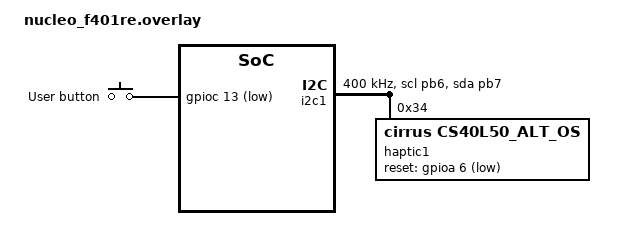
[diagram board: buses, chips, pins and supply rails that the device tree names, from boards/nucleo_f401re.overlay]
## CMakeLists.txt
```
# SPDX-License-Identifier: Apache-2.0
set(DRIVER_BASE "../../../..")
cmake_minimum_required(VERSION 3.20.0)

find_package(Zephyr REQUIRED HINTS $ENV{ZEPHYR_BASE})
project(stream_cs40l50)

FILE(GLOB app_sources src/*.c ${DRIVER_BASE}/cs40l50/*.c ${DRIVER_BASE}/common/fw_img.c)
target_sources(app PRIVATE ${app_sources})

zephyr_library_add_dependencies(offsets_h)

zephyr_compile_definitions(CIRRUS_ZEPHYR_SAMPLE)

add_subdirectory(src)
```

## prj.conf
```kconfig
CONFIG_LOG=y
CONFIG_GPIO=y
CONFIG_HAPTICS=y
CONFIG_HAPTICS_CS40L50=y
CONFIG_HEAP_MEM_POOL_SIZE=8192
CONFIG_SHELL=y
CONFIG_I2C_SHELL=y
```

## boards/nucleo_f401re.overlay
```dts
/*
 * Copyright (c) 2024 Cirrus Logic, Inc.
 *
 * SPDX-License-Identifier: Apache-2.0
 */

#include <zephyr/dt-bindings/i2c/i2c.h>

/ {
        aliases {
                sw0 = &button0;
        };

        buttons {
                compatible = "gpio-keys";

                button0: button_0 {
                        label = "User button";
                        gpios = <&gpioc 13 GPIO_ACTIVE_LOW>;
                        zephyr,code = <INPUT_KEY_0>;
                };
        };
};

&i2c1 {
        status = "okay";
        clock-frequency = <I2C_BITRATE_FAST>;
	pinctrl-0 = <&i2c1_scl_pb6 &i2c1_sda_pb7>;
        
        haptic1: cs40l50@34 {
                compatible = "cirrus,cs40l50_alt_os";
                reg = <0x34>;
                reset-gpios = <&gpioa 6 (GPIO_ACTIVE_LOW | GPIO_PULL_UP)>;
                status = "okay";
        };
};

&usart1 {
	status = "disabled";
};
```

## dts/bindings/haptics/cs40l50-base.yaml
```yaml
# Copyright (c) 2025 Cirrus Logic, Inc.
# SPDX-License-Identifier: Apache-2.0

description: CS40L50 Haptic Driver

compatible: "cirrus,cs40l50"

include: ["i2c-device.yaml"]

properties:
  reset-gpios:
    type: phandle-array
    required: true
    description: Host GPIO pin mapped to CS40L50 reset pin.
```

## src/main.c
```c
/*
 * Copyright (c) Cirrus Logic 2026 All Rights Reserved, http://www.cirrus.com/
 *
 * Licensed under the Apache License, Version 2.0 (the License); you may
 * not use this file except in compliance with the License.
 * You may obtain a copy of the License at
 *
 * www.apache.org/licenses/LICENSE-2.0
 *
 * Unless required by applicable law or agreed to in writing, software
 * distributed under the License is distributed on an AS IS BASIS, WITHOUT
 * WARRANTIES OR CONDITIONS OF ANY KIND, either express or implied.
 * See the License for the specific language governing permissions and
 * limitations under the License.
 *
 */
#include <errno.h>

#include <zephyr/device.h>
#include <zephyr/devicetree.h>
#include <zephyr/kernel.h>
#include <zephyr/logging/log.h>
#include <zephyr/drivers/haptics.h>
#include <zephyr/drivers/i2c.h>
// #include "drivers/haptics/cs40l50.h"
#include <zephyr/drivers/uart.h>
#include <zephyr/sys/util.h>
#include <zephyr/shell/shell.h>
#include <sys/_stdint.h>
#include <stdlib.h>
#include <stdio.h>
#include <strings.h>
#include <ctype.h>

#define LOG_LEVEL 4

#include "cs40l50_bsp.h"

LOG_MODULE_REGISTER(main);

const struct device *cs40l50 = DEVICE_DT_GET(DT_NODELABEL(haptic1));

#if CONFIG_SHELL
#define CS40L50_HELP    SHELL_HELP("CS40L50 haptics commands", NULL)
#define CS40L50_LIST_WT SHELL_HELP("List Effects in Main Wavetable", NULL)
#define CS40L50_EFFECT_MSFT_ID_TRIGGER                                                             \
    SHELL_HELP("Play Effect indicated by Microsoft ID with Given Intensity, Repeat Count, "    \
           "Retrigger Period (ms), and max waveform playback time (ms)",                   \
           "<msft_ID> <intensity> <repeats> <retrigger_period> <cutoff_time>")
#define CS40L50_EFFECT_NAME_TRIGGER                                                                \
    SHELL_HELP("Play Effect indicated by effect name with Given Intensity, Repeat Count, and " \
           "Retrigger Period (ms), and max waveform playback time (ms)",                   \
           "<effect_name> <intensity> <repeats> <retrigger_period> <cutoff_time>")

// Helper function to convert and validate shell input is int values in valid range
static int convert_int_input(const struct shell *sh, char *input, uint32_t *output, uint32_t min,
                 uint32_t max)
{
    char *endptr;
    if (!input) {
        return -1;
    }
    if ((input[0] == '0' && input[1] == 'x') || (input[0] == '0' && input[1] == 'X')) {
        for (int i = 2; input[i] != '\0'; i++) {
            if (!isxdigit(input[i])) {
                shell_error(sh, "Error: Invalid input parameter %s\n", input);
                return -1;
            }
        }

        *output = (uint32_t)strtol(input, &endptr, 16);
        if (*output < min || *output > max) {
            printf("Error: Invalid input %s, input must be number between %d and %d\n",
                   input, min, max);
            return -1;
        }
        return 0;
    } else {
        for (int i = 0; input[i] != '\0'; i++) {
            if (!isdigit(input[i])) {
                shell_error(sh, "Error: Invalid input parameter %s\n", input);
                return -1;
            }
        }

        *output = (uint32_t)strtol(input, &endptr, 0);
        if (*output < min || *output > max) {
            printf("Error: Invalid input %s, input must be number between %d and %d\n",
                   input, min, max);
            return -1;
        }
        return 0;
    }
}

static int cmd_list_wt(const struct shell *sh, size_t argc, char **argv)
{
    uint32_t ret;
    ret = bsp_cs40l50_list_host_initiated_effects(cs40l50);
    return ret;
}

static int cmd_effect_name_trigger(const struct shell *sh, size_t argc, char **argv)
{
    uint32_t ret;

    HIH_effect effect_data;
    effect_data.label = EFFECT_NAME;
    strcpy(effect_data.HIH_effect_identifier.effectName, argv[1]);

    uint32_t amplitude;
    ret = convert_int_input(sh, argv[2], &amplitude, 1, 200);
    if (ret) {
        return -1;
    }
    uint32_t nested_repeats;
    ret = convert_int_input(sh, argv[3], &nested_repeats, 0, 255);
    if (ret) {
        return -1;
    }
    uint32_t delay;
    ret = convert_int_input(sh, argv[4], &delay, 0, 10000);
    if (ret) {
        return -1;
    }
    uint32_t cutoff_time;
    ret = convert_int_input(sh, argv[5], &cutoff_time, 0, 0xFFFFFF);
    if (ret) {
        return -1;
    }

    ret = bsp_cs40l50_host_initiated_trigger(cs40l50, effect_data, amplitude, nested_repeats,
                         delay, cutoff_time);
    return ret;
}

static int cmd_effect_msft_id_trigger(const struct shell *sh, size_t argc, char **argv)
{
    uint32_t ret;

    uint32_t msft_id;
    ret = convert_int_input(sh, argv[1], &msft_id, 0, 0x10000);
    if (ret) {
        return -1;
    }

    HIH_effect effect_data;
    effect_data.label = EFFECT_MSFT_ID;
    effect_data.HIH_effect_identifier.msft_ID = msft_id;

    uint32_t amplitude;
    ret = convert_int_input(sh, argv[2], &amplitude, 1, 200);
    if (ret) {
        return -1;
    }
    uint32_t nested_repeats;
    ret = convert_int_input(sh, argv[3], &nested_repeats, 0, 255);
    if (ret) {
        return -1;
    }
    uint32_t delay;
    ret = convert_int_input(sh, argv[4], &delay, 0, 10000);
    if (ret) {
        return -1;
    }
    uint32_t cutoff_time;
    ret = convert_int_input(sh, argv[5], &cutoff_time, 0, 0xFFFFFF);
    if (ret) {
        return -1;
    }

    ret = bsp_cs40l50_host_initiated_trigger(cs40l50, effect_data, amplitude, nested_repeats,
                         delay, cutoff_time);
    return ret;
}

SHELL_STATIC_SUBCMD_SET_CREATE(cs40l50_cmds,
                   SHELL_CMD_ARG(list_wt, NULL, CS40L50_LIST_WT, cmd_list_wt, 1, 0),
                   SHELL_CMD_ARG(effect_msft_id_trigger, NULL,
                         CS40L50_EFFECT_MSFT_ID_TRIGGER,
                         cmd_effect_msft_id_trigger, 6, 0),
                   SHELL_CMD_ARG(effect_name_trigger, NULL, CS40L50_EFFECT_NAME_TRIGGER,
                         cmd_effect_name_trigger, 6, 0),
                   SHELL_SUBCMD_SET_END);

SHELL_CMD_REGISTER(cs40l50, &cs40l50_cmds, "CS40L50 shell commands", NULL);
#endif /* CONFIG_SHELL */

/*
 * Get button configuration from the devicetree sw0 alias. This is mandatory.
 */
#define SW0_NODE DT_ALIAS(sw0)
#if !DT_NODE_HAS_STATUS_OKAY(SW0_NODE)
#error "Unsupported board: sw0 devicetree alias is not defined"
#endif
static const struct gpio_dt_spec button = GPIO_DT_SPEC_GET_OR(SW0_NODE, gpios, {0});

int main(void)
{
    int ret;

    if (!gpio_is_ready_dt(&button)) {
        printk("Error: button device %s is not ready\n", button.port->name);
        return 0;
    }

    ret = gpio_pin_configure_dt(&button, GPIO_INPUT);
    if (ret != 0) {
        printk("Error %d: failed to configure %s pin %d\n", ret, button.port->name,
               button.pin);
        return 0;
    }

    struct cs40l50_haptic_source_config hap_cfg = {
        .index = CS40L50_HAPTIC_ROM_ZIPPER,
        .bank = ROM_BANK,
    };
    cs40l50_set_haptic_cfg(cs40l50, &hap_cfg);

    if (!cs40l50) {
        LOG_ERR("CS40L50 device not found");
        return -ENODEV;
    } else if (!device_is_ready(cs40l50)) {
        LOG_ERR("CS40L50 device %s is not ready", cs40l50->name);
        return -EIO;
    } else {
        LOG_INF("Found CS40L50 device %s", cs40l50->name);
    }

    while (1) {
        if (gpio_pin_get_dt(&button)) {
            ret = haptics_start_output(cs40l50);
            while (gpio_pin_get_dt(&button))
                ;
        }
        k_msleep(10);
    }
    return 0;
}
```

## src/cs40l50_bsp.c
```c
/*
 * Copyright (c) Cirrus Logic 2026 All Rights Reserved, http://www.cirrus.com/
 *
 * Licensed under the Apache License, Version 2.0 (the License); you may
 * not use this file except in compliance with the License.
 * You may obtain a copy of the License at
 *
 * www.apache.org/licenses/LICENSE-2.0
 *
 * Unless required by applicable law or agreed to in writing, software
 * distributed under the License is distributed on an AS IS BASIS, WITHOUT
 * WARRANTIES OR CONDITIONS OF ANY KIND, either express or implied.
 * See the License for the specific language governing permissions and
 * limitations under the License.
 *
 */

#include "cs40l50_bsp.h"
#include "cs40l50.h"
#include <zephyr/kernel.h>
#include <zephyr/logging/log.h>
#include <zephyr/drivers/i2c.h>
#include <strings.h>

LOG_MODULE_REGISTER(cirrus_cs40l50);

struct cs40l50_config {
    struct i2c_dt_spec i2c;
    struct gpio_dt_spec reset_gpio;
    void (*irq_cfg_func)(void);
    void (*irq_enable_func)(void);
    void (*irq_disable_func)(void);
};

// TODO: Remove Sweep, old name
const char *HIH_effect_names[] = {"Hover", "Collide", "Align",   "Step",    "Grow",
                  "Sweep", "Press",   "Release", "Success", "Error"};

int cs40l50_i2c_write_reg_dt(const struct i2c_dt_spec *spec, const uint32_t reg_addr,
                 const uint32_t value)
{
    uint8_t addr_buf[4], data_buf[4], msg_buf[8];
    int i, j = 4;

    sys_put_be32(reg_addr, addr_buf);
    sys_put_be32(value, data_buf);

    for (i = 0; i < ARRAY_SIZE(addr_buf); i++) {
        msg_buf[i] = addr_buf[i];
        msg_buf[j] = data_buf[i];
        j++;
    }

    return i2c_write_dt(spec, msg_buf, sizeof(msg_buf));
}

int cs40l50_i2c_read_reg_dt(const struct i2c_dt_spec *spec, const uint32_t reg_addr,
                uint32_t *value)
{
    uint8_t write_buf[4], read_buf[4];
    int ret;

    sys_put_be32(reg_addr, write_buf);

    ret = i2c_write_read_dt(spec, write_buf, sizeof(write_buf), read_buf, sizeof(read_buf));
    if (ret < 0) {
        LOG_INF("cs40l50_i2c_read_reg_dt error\n");
        return ret;
    }

    *value = sys_get_be32(read_buf);

    return 0;
}

int cs40l50_update_reg_dt(const struct i2c_dt_spec *spec, const uint32_t reg_addr,
              const uint32_t mask, const uint32_t value)
{
    uint32_t old_value, new_value;
    int ret;

    ret = cs40l50_i2c_read_reg_dt(spec, reg_addr, &old_value);
    if (ret < 0) {
        return ret;
    }

    new_value = (old_value & ~mask) | (value & mask);
    if (new_value == old_value) {
        return 0;
    }

    return cs40l50_i2c_write_reg_dt(spec, reg_addr, new_value);
}

/* write addr/word pairs */
int cs40l50_write_array_dt(const struct i2c_dt_spec *spec, const uint32_t *array, uint32_t words)
{
    int i, ret;

    for (i = 0; i < words; i += 2) {
        ret = cs40l50_i2c_write_reg_dt(spec, array[i], array[i + 1]);
        if (ret < 0) {
            return ret;
        }
    }
    return 0;
}

/**
 * Reads a register for a specific value for a specified amount of tries while waiting between
 * reads.
 *
 */
int cs40l50_poll_reg_dt(const struct i2c_dt_spec *spec, const uint32_t reg_addr, uint32_t value,
            uint32_t tries, uint32_t delay)
{
    uint32_t tmp;
    int i, ret;

    for (i = 0; i < tries; i++) {
        ret = cs40l50_i2c_read_reg_dt(spec, reg_addr, &tmp);
        if (ret < 0) {
            return ret;
        }

        if (tmp == value) {
            return 0;
        }

        k_msleep(delay);
    }
    return 0;
}

int cs40l50_write_acked_reg_dt(const struct i2c_dt_spec *spec, const uint32_t reg_addr,
                   uint32_t val, uint32_t acked_val, uint8_t tries, uint32_t delay)
{
    int i, ret;

    ret = cs40l50_i2c_write_reg_dt(spec, reg_addr, val);
    if (ret < 0) {
        return ret;
    }

    for (i = 0; i < tries; i++) {
        uint32_t temp_reg_val;

        k_msleep(delay);

        cs40l50_i2c_read_reg_dt(spec, reg_addr, &temp_reg_val);

        if (temp_reg_val == acked_val) {
            return 0;
        }
    }

    return -1;
}

int cs40l50_i2c_write_bulk_bus(const struct i2c_dt_spec *spec, const uint32_t reg_addr,
                   const uint8_t *buf, unsigned int num_bytes, uint16_t bus_addr)
{
    uint8_t addr_buf[4], *msg_buf;
    int i = 4, ret = 0;

    LOG_INF("cs40l50_i2c_write_bulk_bus: reg=%x size=%d\n", reg_addr, num_bytes);

    msg_buf = k_malloc(num_bytes + 4);
    if (!msg_buf) {
        return -ENOMEM;
    }

    sys_put_be32(reg_addr, addr_buf);

    for (i = 0; i < ARRAY_SIZE(addr_buf); i++) {
        msg_buf[i] = addr_buf[i];
    }

    bytecpy(msg_buf + 4, buf, num_bytes);

    ret = i2c_write(spec->bus, msg_buf, 4 + num_bytes, bus_addr);

    k_free(msg_buf);
    return ret;
}

int cs40l50_i2c_write_bus(const struct i2c_dt_spec *spec, const uint32_t reg_addr, uint32_t val,
              uint16_t bus_addr)
{
    uint8_t addr_buf[4], data_buf[4], *msg_buf;
    int ret = 0;

    LOG_INF("cs40l50_i2c_write_bus: reg=%x\n", reg_addr);

    msg_buf = k_malloc(8);
    if (!msg_buf) {
        return -ENOMEM;
    }

    sys_put_be32(reg_addr, addr_buf);
    sys_put_be32(val, data_buf);

    bytecpy(msg_buf, addr_buf, 4);
    bytecpy(msg_buf + 4, data_buf, 4);

    ret = i2c_write(spec->bus, msg_buf, 8, bus_addr);

    k_free(msg_buf);
    return ret;
}

int cs40l50_i2c_write_bulk_dt(const struct i2c_dt_spec *spec, const uint32_t reg_addr,
                  const uint8_t *buf, unsigned int num_bytes)
{
    uint8_t addr_buf[4], *msg_buf;
    int i = 4, ret = 0;

    LOG_INF("cs40l50_i2c_write_bulk_dt: reg=%x size=%d\n", reg_addr, num_bytes);

    msg_buf = k_malloc(num_bytes + 4);
    if (!msg_buf) {
        return -ENOMEM;
    }

    sys_put_be32(reg_addr, addr_buf);

    for (i = 0; i < ARRAY_SIZE(addr_buf); i++) {
        msg_buf[i] = addr_buf[i];
    }

    bytecpy(msg_buf + 4, buf, num_bytes);

    ret = i2c_write_dt(spec, msg_buf, sizeof(msg_buf) + num_bytes);

    k_free(msg_buf);
    return ret;
}

int cs40l50_set_haptic_cfg(const struct device *dev, struct cs40l50_haptic_source_config *hap_cfg)
{
    struct cs40l50_bsp *data = dev->data;
    data->hap_cfg = *hap_cfg;
    return 0;
}

static int cs40l50_write_fw_blocks(struct i2c_dt_spec *i2c, halo_boot_block_t *blocks,
                   int num_blocks)
{
    int i, ret;
    halo_boot_block_t block;
    uint32_t bytes, address;
    uint8_t *buffer;

    for (i = 0; i < num_blocks; i++) {
        block = blocks[i];
        bytes = block.block_size;
        address = block.address;
        buffer = (uint8_t *)block.bytes;
        ret = cs40l50_i2c_write_bulk_dt(i2c, address, buffer, bytes);
        if (ret != 0) {
            return ret;
        }
        k_msleep(5);
    }

    return 0;
}

static int cs40l50_gpi_get_level(cs40l50_t *drv, unsigned int gpio)
{
    uint32_t gpio_status;
    struct i2c_dt_spec *i2c = drv->config.bsp_config.i2c;

    if (gpio > 13) {
        return -1;
    }

    regmap_read(i2c, CS40L50_GPIO_STATUS1, &gpio_status);

    return ((gpio_status & (1 << (gpio - 1))) != 0);
}

enum cs40l50_tuning_set {
    CS40L50_TUNING_SET_A,
    CS40L50_TUNING_SET_B,
};

static unsigned int get_tuning_set(cs40l50_t *drv)
{
    // struct i2c_dt_spec *i2c = drv->config.bsp_config.i2c;
    int gpi_level;

    gpi_level = cs40l50_gpi_get_level(drv, 1);
    return gpi_level;
}

/* NOTE: Example tunings and wavetable are not designed for general-purpose applications and should
 * be used for verification purposes only. Please contact your Cirrus Logic representative for
 * application specific waveforms and tunings
 */
static int cs40l50_firmware_load(cs40l50_t *drv)
{
    int num_blocks, ret;
    halo_boot_block_t *blocks;
    struct i2c_dt_spec *i2c = drv->config.bsp_config.i2c;
    uint32_t tuning_set;

    tuning_set = get_tuning_set(drv);

    num_blocks = cs40l50_total_fw_blocks;
    blocks = (halo_boot_block_t *)cs40l50_fw_blocks;
    ret = cs40l50_write_fw_blocks(i2c, blocks, num_blocks);
    if (ret != 0) {
        return ret;
    }

    num_blocks = cs40l50_total_coeff_blocks_0;
    blocks = (halo_boot_block_t *)cs40l50_coeff_0_blocks;
    ret = cs40l50_write_fw_blocks(i2c, blocks, num_blocks);
    if (ret != 0) {
        return ret;
    }

    num_blocks = cs40l50_total_coeff_blocks_1;
    blocks = (halo_boot_block_t *)cs40l50_coeff_1_blocks;
    ret = cs40l50_write_fw_blocks(i2c, blocks, num_blocks);
    if (ret != 0) {
        return ret;
    }

    LOG_INF("Loaded wavetable");
    return 0;
}

static int cs40l50_clear_gpio_triggers(cs40l50_t *drv)
{
    int i;
    struct i2c_dt_spec *i2c = drv->config.bsp_config.i2c;

    for (i = 0; i < 16; i++) {
        regmap_write(i2c, CS40L50_GPIO_HANDLERS_BASE + i * 4, 0x1FF);
    }

    return 0;
}

static int cs40l50_setup_gpi(cs40l50_t *drv, unsigned int gpio)
{
    struct i2c_dt_spec *i2c = drv->config.bsp_config.i2c;

    if (gpio > 13) {
        return -1;
    }

    regmap_write(i2c, CS40L50_GPIO_CTRL1 + (4 * (gpio - 1)),
             CS40L50_GPIO_CTRL_DIR_BITMASK | CS40L50_GPIO_CTRL_FN_INPUT_OUTPUT);
    return 0;
}

static uint32_t cs40l50_set_timer(uint32_t duration_ms, bsp_callback_t cb, void *cb_arg)
{
    k_msleep(duration_ms);
    return 0;
}

static uint32_t cs40l50_register_gpio_cb(const struct gpio_dt_spec *gpio_id, bsp_callback_t cb,
                     void *cb_arg)
{
    // TODO
    return 0;
}

static uint32_t cs40l50_set_gpio(const struct gpio_dt_spec *gpio_id, uint8_t gpio_state)
{
    // TODO
    return 0;
}

bsp_driver_if_t cs40l50_bsp_driver_if = {.set_timer = cs40l50_set_timer,
                     .register_gpio_cb = cs40l50_register_gpio_cb,
                     .set_gpio = cs40l50_set_gpio};

bsp_driver_if_t *bsp_driver_if_g = &cs40l50_bsp_driver_if;

/* ===================================================================================== */
static int cs40l50_reset_owt(cs40l50_t *drv)
{
    uint32_t ret;
    struct i2c_dt_spec *i2c = drv->config.bsp_config.i2c;
    ret = regmap_write(i2c, CS40L50_DSP_VIRTUAL1_MBOX_1, CS40L50_DSP_MBOX_OWT_RESET);
    if (ret) {
        return ret;
    }
    return BSP_STATUS_OK;
}

static int cs40l50_init(const struct device *dev)
{
    struct cs40l50_config *config = (struct cs40l50_config *)dev->config;
    struct cs40l50_bsp *data = dev->data;
    cs40l50_t *drv = &data->priv;
    uint32_t val;
    int ret;
    LOG_INF("cs40l50_init\n");

    drv->config.bsp_config.i2c = &config->i2c;
    drv->config.syscfg_regs = cs40l50_syscfg_regs;
    drv->config.syscfg_regs_total = CS40L50_SYSCFG_REGS_TOTAL;
    drv->config.is_ext_bst = true;

    static const struct gpio_dt_spec reset =
        GPIO_DT_SPEC_GET(DT_NODELABEL(haptic1), reset_gpios);

    if (!gpio_is_ready_dt(&reset)) {
        LOG_INF("cs40l50 reset pin GPIO port is not ready.\n");
        return 0;
    }

    ret = gpio_pin_configure_dt(&reset, GPIO_OUTPUT_INACTIVE);
    if (ret != 0) {
        LOG_INF("cs40l50 configuring reset pin failed: %d\n", ret);
        return 0;
    }

    drv->config.bsp_config.reset_gpio_id = &reset;
    // Activate RESET for at least T_RLPW (1ms)
    gpio_pin_set_dt(&reset, BSP_GPIO_ACTIVE);
    k_msleep(2);
    // Wait for Lochnagar to boot
    gpio_pin_set_dt(&reset, BSP_GPIO_INACTIVE);
    k_msleep(2500);

    if (!i2c_is_ready_dt(&config->i2c)) {
        LOG_INF("cs40l50 no I2C\n");
        return -ENODEV;
    }

    ret = cs40l50_reset(drv);
    if (ret < 0) {
        return ret;
    }

    regmap_read(&config->i2c, FIRMWARE_CS40L5X_HALO_STATE, &val);
    LOG_INF("cs40l50_init: HALO_STATE = %x\n", val);

    LOG_INF("cs40l50_calibrate\n");
    ret = cs40l50_calibrate(drv);
    if (ret < 0) {
        LOG_INF("cs40l50_calibrate error\n");
        return ret;
    }

    ret = cs40l50_boot(drv, NULL);
    if (ret < 0) {
        LOG_INF("cs40l50_boot error\n");
        return ret;
    }

    cs40l50_setup_gpi(drv, 1);

    LOG_INF("cs40l50_firmware_load\n");
    ret = cs40l50_firmware_load(drv);
    if (ret < 0) {
        LOG_INF("cs40l50_firmware_load error\n");
        return ret;
    }

    ret = regmap_write(&config->i2c, CS40L50_DSP1_CCM_CORE_CONTROL, 0x00000281);
    if (ret < 0) {
        LOG_INF("cs40l50_boot error\n");
        return ret;
    }

    cs40l50_clear_gpio_triggers(drv);
    cs40l50_reset_owt(drv);

    k_msleep(1000);

    /* to-do */
    regmap_read(&config->i2c, FIRMWARE_CS40L5X_HALO_STATE, &val);
    LOG_INF("cs40l50_init: HALO_STATE = %x\n", val);

    //    config->irq_cfg_func();
    //    config->irq_enable_func();

    return 0;
}

static int haptics_cs40l50_stop_output(const struct device *dev)
{
    return 0;
}

static int haptics_cs40l50_start_output(const struct device *dev)
{
    struct cs40l50_bsp *data = (struct cs40l50_bsp *)dev->data;
    LOG_INF("haptics_cs40l50_start_output, bank=%x, index=%x\n", data->hap_cfg.bank,
        data->hap_cfg.index);

    cs40l50_trigger(&data->priv, data->hap_cfg.index, data->hap_cfg.bank);

    return 0;
}

int bsp_cs40l50_trigger_owt(const struct device *dev, int owt_idx)
{
    struct cs40l50_bsp *data = dev->data;
    cs40l50_t *drv = &data->priv;
    uint32_t ret;

    ret = cs40l50_trigger_owt(drv, owt_idx);
    if (ret) {
        LOG_ERR("Error playing out owt waveform");
        return ret;
    }
    return BSP_STATUS_OK;
}

int bsp_cs40l50_delete_owt(const struct device *dev, int owt_idx)
{
    struct cs40l50_bsp *data = dev->data;
    cs40l50_t *drv = &data->priv;
    struct cs40l50_config *config = (struct cs40l50_config *)dev->config;
    uint32_t ret, state;

    ret = regmap_read(&config->i2c, PM_PM_CUR_STATE, &state);
    if (ret) {
        return ret;
    }

    if (state == CS40L50_DSP_STATE_ACTIVE) {
        ret = regmap_write(&config->i2c, CS40L50_DSP_VIRTUAL1_MBOX_1,
                   CS40L50_DSP_MBOX_STOP_PLAYBACK);
        if (ret) {
            return ret;
        }
        ret = regmap_poll_reg(&config->i2c, PM_PM_CUR_STATE, CS40L50_DSP_STATE_STANDBY, 10,
                      10);
        if (ret) {
            return ret; // If unable to stop playback don't send delete command
        }
    }

    ret = cs40l50_delete_owt(drv, owt_idx);
    if (ret) {
        LOG_ERR("Error deleting owt waveform");
        return ret;
    }
    return BSP_STATUS_OK;
}

int bsp_cs40l50_write_owt_header(const struct device *dev, uint8_t num_waveforms, uint8_t repeats)
{
    struct cs40l50_bsp *data = dev->data;
    cs40l50_t *drv = &data->priv;
    uint32_t ret;

    ret = cs40l50_write_owt_composite_header(drv, num_waveforms, repeats);
    if (ret) {
        LOG_ERR("Error writing owt header");
        return ret;
    }
    return BSP_STATUS_OK;
}

int bsp_cs40l50_write_owt_section(const struct device *dev,
                  struct cs40l50_owt_section_params section)
{
    struct cs40l50_bsp *data = dev->data;
    cs40l50_t *drv = &data->priv;
    uint32_t ret;

    ret = cs40l50_write_owt_composite_section(drv, section.nested_repeats, section.waveform_idx,
                          section.amplitude, section.delay,
                          section.owt_subwave, section.rom_subwave,
                          section.duration_present, section.duration);
    if (ret) {
        LOG_ERR("Error writing owt section");
        return ret;
    }
    return BSP_STATUS_OK;
}

int bsp_cs40l50_push_owt(const struct device *dev)
{
    struct cs40l50_bsp *data = dev->data;
    cs40l50_t *drv = &data->priv;
    uint32_t ret;

    ret = cs40l50_push_owt_composite(drv);
    if (ret) {
        LOG_ERR("Error pushing owt waveform");
        return ret;
    }
    return BSP_STATUS_OK;
}

int bsp_cs40l50_write_owt_composite_one_section(const struct device *dev,
                        struct cs40l50_owt_section_params section)
{
    uint32_t ret;
    struct cs40l50_bsp *data = dev->data;
    cs40l50_t *drv = &data->priv;

    ret = cs40l50_write_owt_composite_one_section(
        drv, section.nested_repeats, section.waveform_idx, section.amplitude, section.delay,
        section.owt_subwave, section.rom_subwave);
    if (ret) {
        LOG_ERR("Error writing owt waveform");
        return ret;
    }
    return ret;
}

int bsp_cs40l50_get_SVC_tone_length(const struct device *dev, uint32_t *length)
{
    struct cs40l50_config *config = (struct cs40l50_config *)dev->config;
    uint32_t val, ret;
    uint32_t length_samples = 0;
    ret = regmap_read(&config->i2c, SVC_INIT_PH_PILOT_HI_START_SMP, &val);
    if (ret) {
        return ret;
    }
    length_samples += val;

    ret = regmap_read(&config->i2c, SVC_INIT_PH_OFST_CAL_START_SMP, &val);
    if (ret) {
        return ret;
    }
    length_samples += val;

    ret = regmap_read(&config->i2c, SVC_INIT_PH_OFST_CAL_NSMP, &val);
    if (ret) {
        return ret;
    }
    length_samples += val;

    ret = regmap_read(&config->i2c, SVC_INIT_PH_OFST_STL_NSMP, &val);
    if (ret) {
        return ret;
    }
    length_samples += val;

    // Ouput tone length in us
    *length = (length_samples * 1000) / (CS40L50_SVC_FS / 1000);
    return BSP_STATUS_OK;
}

static uint32_t bsp_cs40l50_convert_effect_name(char *effect_name, uint32_t *idx)
{
    for (int i = 0; i < pwleCount; i++) {
        if (strcasecmp(effect_name, pwleList[i]->name) == 0) {
            *idx = i;
            return BSP_STATUS_OK;
        }
    }
    return BSP_STATUS_FAIL;
}

static uint32_t bsp_cs40l50_convert_msft_id(uint32_t msft_id, uint32_t *idx)
{
    for (int i = 0; i < pwleCount; i++) {
        if (msft_id == pwleList[i]->msft_id) {
            *idx = i;
            return BSP_STATUS_OK;
        }
    }
    return BSP_STATUS_FAIL;
}

int bsp_cs40l50_host_initiated_trigger(const struct device *dev, HIH_effect effect,
                       uint32_t intensity, uint32_t repeats,
                       uint32_t retrigger_period, uint32_t cutoff_time)
{
    uint32_t ret, idx;
    struct cs40l50_config *config = (struct cs40l50_config *)dev->config;

    ret = bsp_cs40l50_get_num_owt_wf(dev, &idx);
    if (ret) {
        return ret;
    }
    if (idx > 0) {
        ret = bsp_cs40l50_delete_owt(dev, idx - 1);
        if (ret) {
            return ret;
        }
    }

    // Get effect OWT index from string name or microsoft ID
    if (effect.label == EFFECT_NAME) {
        ret = bsp_cs40l50_convert_effect_name(effect.HIH_effect_identifier.effectName,
                              &idx);
        if (ret) {
            LOG_ERR("Error: Effect named %s not found",
                effect.HIH_effect_identifier.effectName);
            return ret;
        }
    } else if (effect.label == EFFECT_MSFT_ID) {
        ret = bsp_cs40l50_convert_msft_id(effect.HIH_effect_identifier.msft_ID, &idx);
        if (ret) {
            LOG_ERR("Error: Effect ID 0x%x not found",
                effect.HIH_effect_identifier.msft_ID);
            return ret;
        }
    } else {
        idx = effect.HIH_effect_identifier.owtIdx;
    }

    struct cs40l50_owt_section_params section = {.nested_repeats = repeats,
                             .waveform_idx = idx,
                             .amplitude = intensity,
                             .delay = retrigger_period,
                             .owt_subwave = 0,
                             .rom_subwave = 0,
                             .duration_present = 0,
                             .duration = 0};

    ret = bsp_cs40l50_write_owt_composite_one_section(dev, section);
    if (ret) {
        return ret;
    }

    ret = regmap_write(&config->i2c, VIBEGEN_TIMEOUT_MS, cutoff_time);
    if (ret) {
        return ret;
    }

    ret = bsp_cs40l50_get_num_owt_wf(dev, &idx);
    if (ret) {
        return ret;
    }

    ret = bsp_cs40l50_trigger_owt(dev, idx - 1);
    if (ret) {
        return ret;
    }

    return BSP_STATUS_OK;
}

static bool check_pwle_is_HIH_effect(const char *effect_name)
{
    for (int i = 0; i < sizeof(HIH_effect_names) / sizeof(HIH_effect_names[0]); i++) {
        if (strcasecmp(effect_name, HIH_effect_names[i]) == 0) {
            return true;
        }
    }
    return false;
}

int bsp_cs40l50_list_host_initiated_effects(const struct device *dev)
{
    uint32_t ret;
    printf("\n---Wavetable Waveform List---\n");
    for (int i = 0; i < pwleCount; i++) {
        if (check_pwle_is_HIH_effect(pwleList[i]->name)) {
            uint32_t length_svc_us = 0;
            ret = bsp_cs40l50_get_SVC_tone_length(dev, &length_svc_us);
            if (ret) {
                return ret;
            }
            uint32_t length_svc_ms = length_svc_us / 1000;
            uint32_t length_svc_ms_dec = (length_svc_us % 1000) / 10;
            uint32_t length_ms = pwleList[i]->length_us / 1000 + length_svc_ms;
            uint32_t length_ms_dec =
                (pwleList[i]->length_us % 1000) / 10 + length_svc_ms_dec;
            length_ms += length_ms_dec / 100;
            length_ms_dec %= 100;
            if (length_ms_dec > 50) // Round to nearest ms
            {
                length_ms += 1;
            }
            printf("Name : \"%s\", Duration : %d ms\n", pwleList[i]->name, length_ms);
        }
    }
    return BSP_STATUS_OK;
}

static const struct haptics_driver_api cs40l50_driver_api = {
    .start_output = &haptics_cs40l50_start_output,
    .stop_output = &haptics_cs40l50_stop_output,
};

// static void cs40l50_isr(void *arg)
// {
// }

int bsp_cs40l50_get_num_owt_wf(const struct device *dev, uint32_t *num)
{
    struct cs40l50_config *config = (struct cs40l50_config *)dev->config;
    return regmap_read(&config->i2c, VIBEGEN_OWT_NUM_OF_WAVES_XM, num);
}

#define CS40L50_INIT(inst)                                                                         \
                                                                                                   \
    static const struct cs40l50_config cs40l50_config_##inst = {                               \
        .i2c = I2C_DT_SPEC_INST_GET(inst),                                                 \
    };                                                                                         \
                                                                                                   \
    static struct cs40l50_bsp cs40l50_bsp_data_##inst = {                                      \
                                                                                                   \
    };                                                                                         \
                                                                                                   \
    PM_DEVICE_DT_INST_DEFINE(inst, cs40l50_pm_action);                                         \
                                                                                                   \
    DEVICE_DT_INST_DEFINE(inst, &cs40l50_init, NULL, &cs40l50_bsp_data_##inst,                 \
                  &cs40l50_config_##inst, POST_KERNEL, CONFIG_HAPTICS_INIT_PRIORITY,   \
                  &cs40l50_driver_api);

DT_INST_FOREACH_STATUS_OKAY(CS40L50_INIT)

/* ===================================================================================== */
```

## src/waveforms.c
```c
#include "rth_types.h"
#include <stddef.h>
#include <stdlib.h>
static rth_pwle_section_t pwle_1_section1 =
{
    .duration = 0,
    .level = 0,
    .freq = 800,
    .chirp = false,
    .half_cycles = false
};

static rth_pwle_section_t pwle_1_section2 =
{
    .duration = 4,
    .level = 0,
    .freq = 800,
    .chirp = false,
    .half_cycles = false
};

rth_pwle_section_t *pwle1_sections[2] =
{
    &pwle_1_section1,
    &pwle_1_section2
};

static rth_pwle_t pwle_1 =
{
    .sections = pwle1_sections,
    .num_sections = 2,
    .length_us = 1000,
    .name = "null_1ms_wave"
};
static rth_pwle_section_t pwle_2_section1 =
{
    .duration = 0,
    .level = 165,
    .freq = 640,
    .chirp = false,
    .half_cycles = false
};

static rth_pwle_section_t pwle_2_section2 =
{
    .duration = 25,
    .level = 0,
    .freq = 640,
    .chirp = false,
    .half_cycles = false
};

rth_pwle_section_t *pwle2_sections[2] =
{
    &pwle_2_section1,
    &pwle_2_section2
};

static rth_pwle_t pwle_2 =
{
    .sections = pwle2_sections,
    .num_sections = 2,
    .length_us = 26250,
    .name = "Hover"
};
static rth_pwle_section_t pwle_3_section1 =
{
    .duration = 0,
    .level = 0,
    .freq = 404,
    .chirp = false,
    .half_cycles = false
};

static rth_pwle_section_t pwle_3_section2 =
{
    .duration = 40,
    .level = 401,
    .freq = 404,
    .chirp = false,
    .half_cycles = false
};

static rth_pwle_section_t pwle_3_section3 =
{
    .duration = 0,
    .level = 0,
    .freq = 404,
    .chirp = false,
    .half_cycles = false
};

static rth_pwle_section_t pwle_3_section4 =
{
    .duration = 158,
    .level = 0,
    .freq = 404,
    .chirp = false,
    .half_cycles = false
};

static rth_pwle_section_t pwle_3_section5 =
{
    .duration = 0,
    .level = 401,
    .freq = 404,
    .chirp = false,
    .half_cycles = false
};

static rth_pwle_section_t pwle_3_section6 =
{
    .duration = 40,
    .level = 0,
    .freq = 404,
    .chirp = false,
    .half_cycles = false
};

rth_pwle_section_t *pwle3_sections[6] =
{
    &pwle_3_section1,
    &pwle_3_section2,
    &pwle_3_section3,
    &pwle_3_section4,
    &pwle_3_section5,
    &pwle_3_section6
};

static rth_pwle_t pwle_3 =
{
    .sections = pwle3_sections,
    .num_sections = 6,
    .length_us = 79500,
    .name = "Collide"
};
static rth_pwle_section_t pwle_4_section1 =
{
    .duration = 0,
    .level = 335,
    .freq = 1556,
    .chirp = false,
    .half_cycles = false
};

static rth_pwle_section_t pwle_4_section2 =
{
    .duration = 5,
    .level = 335,
    .freq = 1556,
    .chirp = false,
    .half_cycles = false
};

rth_pwle_section_t *pwle4_sections[2] =
{
    &pwle_4_section1,
    &pwle_4_section2
};

static rth_pwle_t pwle_4 =
{
    .sections = pwle4_sections,
    .num_sections = 2,
    .length_us = 21250,
    .name = "Align"
};
static rth_pwle_section_t pwle_5_section1 =
{
    .duration = 0,
    .level = 335,
    .freq = 544,
    .chirp = false,
    .half_cycles = false
};

static rth_pwle_section_t pwle_5_section2 =
{
    .duration = 44,
    .level = 335,
    .freq = 544,
    .chirp = false,
    .half_cycles = false
};

rth_pwle_section_t *pwle5_sections[2] =
{
    &pwle_5_section1,
    &pwle_5_section2
};

static rth_pwle_t pwle_5 =
{
    .sections = pwle5_sections,
    .num_sections = 2,
    .length_us = 31000,
    .name = "Step"
};
static rth_pwle_section_t pwle_6_section1 =
{
    .duration = 0,
    .level = 0,
    .freq = 404,
    .chirp = false,
    .half_cycles = false
};

static rth_pwle_section_t pwle_6_section2 =
{
    .duration = 78,
    .level = 99,
    .freq = 508,
    .chirp = true,
    .half_cycles = false
};

static rth_pwle_section_t pwle_6_section3 =
{
    .duration = 107,
    .level = 368,
    .freq = 748,
    .chirp = true,
    .half_cycles = false
};

rth_pwle_section_t *pwle6_sections[3] =
{
    &pwle_6_section1,
    &pwle_6_section2,
    &pwle_6_section3
};

static rth_pwle_t pwle_6 =
{
    .sections = pwle6_sections,
    .num_sections = 3,
    .length_us = 66250,
    .name = "Sweep"
};
static rth_pwle_section_t pwle_7_section1 =
{
    .duration = 0,
    .level = 401,
    .freq = 536,
    .chirp = false,
    .half_cycles = false
};

static rth_pwle_section_t pwle_7_section2 =
{
    .duration = 45,
    .level = 0,
    .freq = 536,
    .chirp = false,
    .half_cycles = false
};

rth_pwle_section_t *pwle7_sections[2] =
{
    &pwle_7_section1,
    &pwle_7_section2
};

static rth_pwle_t pwle_7 =
{
    .sections = pwle7_sections,
    .num_sections = 2,
    .length_us = 31250,
    .name = "Press"
};
static rth_pwle_section_t pwle_8_section1 =
{
    .duration = 0,
    .level = 0,
    .freq = 1232,
    .chirp = false,
    .half_cycles = false
};

static rth_pwle_section_t pwle_8_section2 =
{
    .duration = 19,
    .level = 401,
    .freq = 1232,
    .chirp = false,
    .half_cycles = false
};

rth_pwle_section_t *pwle8_sections[2] =
{
    &pwle_8_section1,
    &pwle_8_section2
};

static rth_pwle_t pwle_8 =
{
    .sections = pwle8_sections,
    .num_sections = 2,
    .length_us = 24750,
    .name = "Release"
};
static rth_pwle_section_t pwle_9_section1 =
{
    .duration = 0,
    .level = 236,
    .freq = 800,
    .chirp = false,
    .half_cycles = false
};

static rth_pwle_section_t pwle_9_section2 =
{
    .duration = 27,
    .level = 236,
    .freq = 880,
    .chirp = true,
    .half_cycles = false
};

static rth_pwle_section_t pwle_9_section3 =
{
    .duration = 0,
    .level = 0,
    .freq = 880,
    .chirp = true,
    .half_cycles = false
};

static rth_pwle_section_t pwle_9_section4 =
{
    .duration = 218,
    .level = 0,
    .freq = 880,
    .chirp = true,
    .half_cycles = false
};

static rth_pwle_section_t pwle_9_section5 =
{
    .duration = 258,
    .level = 735,
    .freq = 2384,
    .chirp = true,
    .half_cycles = false
};

rth_pwle_section_t *pwle9_sections[5] =
{
    &pwle_9_section1,
    &pwle_9_section2,
    &pwle_9_section3,
    &pwle_9_section4,
    &pwle_9_section5
};

static rth_pwle_t pwle_9 =
{
    .sections = pwle9_sections,
    .num_sections = 5,
    .length_us = 145750,
    .name = "Success"
};
static rth_pwle_section_t pwle_10_section1 =
{
    .duration = 0,
    .level = 401,
    .freq = 1212,
    .chirp = false,
    .half_cycles = false
};

static rth_pwle_section_t pwle_10_section2 =
{
    .duration = 198,
    .level = 401,
    .freq = 1212,
    .chirp = false,
    .half_cycles = false
};

static rth_pwle_section_t pwle_10_section3 =
{
    .duration = 0,
    .level = 0,
    .freq = 1212,
    .chirp = false,
    .half_cycles = false
};

static rth_pwle_section_t pwle_10_section4 =
{
    .duration = 132,
    .level = 0,
    .freq = 1212,
    .chirp = false,
    .half_cycles = false
};

static rth_pwle_section_t pwle_10_section5 =
{
    .duration = 0,
    .level = 401,
    .freq = 1212,
    .chirp = false,
    .half_cycles = false
};

static rth_pwle_section_t pwle_10_section6 =
{
    .duration = 198,
    .level = 401,
    .freq = 1212,
    .chirp = false,
    .half_cycles = false
};

rth_pwle_section_t *pwle10_sections[6] =
{
    &pwle_10_section1,
    &pwle_10_section2,
    &pwle_10_section3,
    &pwle_10_section4,
    &pwle_10_section5,
    &pwle_10_section6
};

static rth_pwle_t pwle_10 =
{
    .sections = pwle10_sections,
    .num_sections = 6,
    .length_us = 152000,
    .name = "Error"
};
uint32_t const pwleCount = 10;
rth_pwle_t *pwleList[10] =
{
    &pwle_1,
    &pwle_2,
    &pwle_3,
    &pwle_4,
    &pwle_5,
    &pwle_6,
    &pwle_7,
    &pwle_8,
    &pwle_9,
    &pwle_10,
};
```

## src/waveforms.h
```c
#include "rth_types.h"
#include <stddef.h>
#include <stdlib.h>

extern rth_pwle_section_t *pwle1[];
extern const uint32_t pwle_1_size;

extern rth_pwle_section_t *pwle2[];
extern const uint32_t pwle_2_size;

extern rth_pwle_section_t *pwle3[];
extern const uint32_t pwle_3_size;

extern rth_pwle_section_t *pwle4[];
extern const uint32_t pwle_4_size;

extern rth_pwle_section_t *pwle5[];
extern const uint32_t pwle_5_size;

extern rth_pwle_section_t *pwle6[];
extern const uint32_t pwle_6_size;

extern rth_pwle_section_t *pwle7[];
extern const uint32_t pwle_7_size;

extern rth_pwle_section_t *pwle8[];
extern const uint32_t pwle_8_size;

extern rth_pwle_section_t *pwle9[];
extern const uint32_t pwle_9_size;

extern rth_pwle_section_t *pwle10[];
extern const uint32_t pwle_10_size;

extern const uint32_t pwleCount;
extern rth_pwle_t *pwleList[];
```
